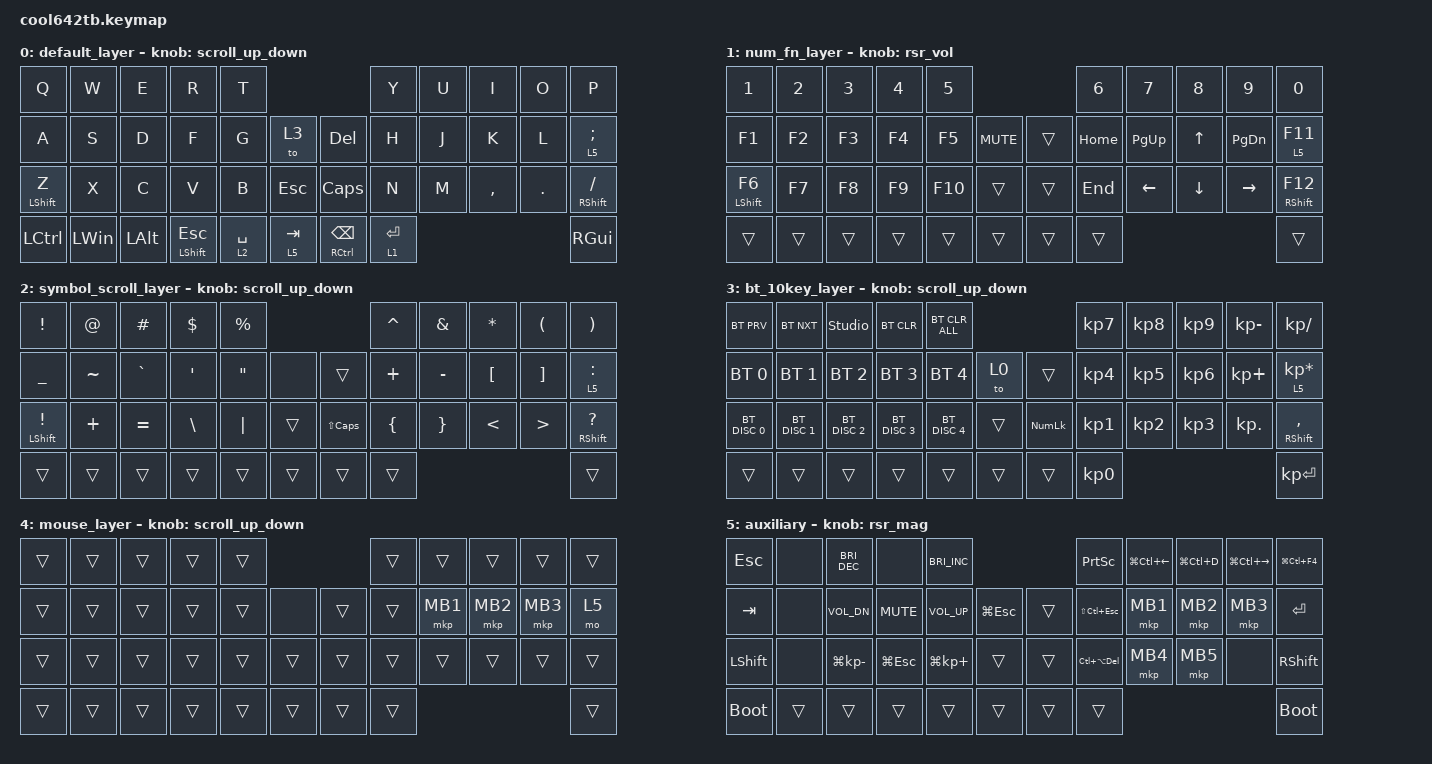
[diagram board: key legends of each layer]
#define ZMK_POINTING_DEFAULT_SCRL_VAL 100

#include <behaviors/rgbled_widget.dtsi>
#include <behaviors.dtsi>
#include <dt-bindings/zmk/bt.h>
#include <dt-bindings/zmk/keys.h>
#include <dt-bindings/zmk/pointing.h>

&mt {
    flavor = "balanced";
    quick-tap-ms = <200>;
};

&lt {
    quick-tap-ms = <200>;
    flavor = "balanced";
};

/ {
    behaviors {
        scroll_up_down: mouse_wheel_up_down {
            compatible = "zmk,behavior-runtime-sensor-rotate";
            #sensor-binding-cells = <0>;
            tap-ms = <20>;
            cw-binding = <&msc SCRL_DOWN>;
            ccw-binding = <&msc SCRL_UP>;
        };

        rsr_vol: rsr_vol {
            compatible = "zmk,behavior-runtime-sensor-rotate";
            #sensor-binding-cells = <0>;
            tap-ms = <5>;
            cw-binding = <&kp C_VOL_UP>;
            ccw-binding = <&kp C_VOL_DN>;
        };

        rsr_mag: rsr_mag {
            compatible = "zmk,behavior-runtime-sensor-rotate";
            #sensor-binding-cells = <0>;
            tap-ms = <20>;
            cw-binding = <&kp LG(KP_PLUS)>;
            ccw-binding = <&kp LG(KP_MINUS)>;
        };
    };

    combos {
        compatible = "zmk,combos";

        tab {
            bindings = <&kp TAB>;
            key-positions = <10 11>;
        };

        s+tab {
            bindings = <&kp LS(TAB)>;
            key-positions = <22 23>;
        };

        esc {
            bindings = <&kp ESC>;
            key-positions = <0 1>;
        };

        bs {
            bindings = <&kp BACKSPACE>;
            key-positions = <8 9>;
        };

        enter {
            bindings = <&kp ENTER>;
            key-positions = <20 21>;
        };

        del {
            bindings = <&kp DELETE>;
            key-positions = <7 8>;
        };

        scroll {
            bindings = <&mo 2>;
            key-positions = <19 20>;
        };

        lang2 {
            bindings = <&kp LANGUAGE_2>;
            key-positions = <13 12>;
        };

        lang1 {
            bindings = <&kp LANGUAGE_1>;
            key-positions = <18 19>;
        };
    };

    keymap {
        compatible = "zmk,keymap";

        default_layer {
            bindings = <
&kp Q         &kp W         &kp E         &kp R              &kp T                                                 &kp Y        &kp U  &kp I      &kp O       &kp P
&kp A         &kp S         &kp D         &kp F              &kp G        &to 3       &kp DELETE                   &kp H        &kp J  &kp K      &kp L       &lt 5 SEMICOLON
&mt LSHIFT Z  &kp X         &kp C         &kp V              &kp B        &kp ESCAPE  &kp CAPS                     &kp N        &kp M  &kp COMMA  &kp PERIOD  &mt RSHFT SLASH
&kp LCTRL     &kp LEFT_WIN  &kp LEFT_ALT  &mt LSHIFT ESCAPE  &lt 2 SPACE  &lt 5 TAB   &mt RIGHT_CONTROL BACKSPACE  &lt 1 ENTER                                &kp RGUI
            >;
            sensor-bindings = <&scroll_up_down>;
        };

        num_fn_layer {
            bindings = <
&kp NUMBER_1   &kp NUMBER_2  &kp NUMBER_3  &kp NUMBER_4  &kp N5                       &kp NUMBER_6  &kp N7     &kp N8        &kp N9         &kp N0
&kp F1         &kp F2        &kp F3        &kp F4        &kp F5   &kp C_MUTE  &trans  &kp HOME      &kp PG_UP  &kp UP_ARROW  &kp PAGE_DOWN  &lt 5 F11
&mt LSHIFT F6  &kp F7        &kp F8        &kp F9        &kp F10  &trans      &trans  &kp END       &kp LEFT   &kp DOWN      &kp RIGHT      &mt RSHFT F12
&trans         &trans        &trans        &trans        &trans   &trans      &trans  &trans                                                &trans
            >;
            sensor-bindings = <&rsr_vol>;
        };

        symbol_scroll_layer {
            bindings = <
&kp EXCLAMATION         &kp AT_SIGN  &kp HASH   &kp DOLLAR     &kp PERCENT                                  &kp CARET       &kp AMPERSAND  &kp ASTERISK      &kp LEFT_PARENTHESIS  &kp RIGHT_PARENTHESIS
&kp UNDERSCORE          &kp TILDE    &kp GRAVE  &kp SQT        &kp DOUBLE_QUOTES  &none   &trans            &kp PLUS        &kp MINUS      &kp LEFT_BRACKET  &kp RIGHT_BRACKET     &lt 5 COLON
&mt LSHIFT EXCLAMATION  &kp PLUS     &kp EQUAL  &kp BACKSLASH  &kp PIPE           &trans  &kp LS(CAPSLOCK)  &kp LEFT_BRACE  &kp RBRC       &kp LESS_THAN     &kp GREATER_THAN      &mt RSHIFT QUESTION
&trans                  &trans       &trans     &trans         &trans             &trans  &trans            &trans                                                                 &trans
            >;
            sensor-bindings = <&scroll_up_down>;
        };

        bt_10key_layer {
            bindings = <
&bt BT_PRV     &bt BT_NXT     &studio_unlock &bt BT_CLR     &bt BT_CLR_ALL                          &kp KP_NUMBER_7  &kp KP_NUMBER_8  &kp KP_NUMBER_9  &kp KP_MINUS  &kp KP_DIVIDE
&bt BT_SEL 0   &bt BT_SEL 1   &bt BT_SEL 2   &bt BT_SEL 3   &bt BT_SEL 4    &to 0   &trans          &kp KP_NUMBER_4  &kp KP_NUMBER_5  &kp KP_NUMBER_6  &kp KP_PLUS   &lt 5 KP_ASTERISK
&bt BT_DISC 0  &bt BT_DISC 1  &bt BT_DISC 2  &bt BT_DISC 3  &bt BT_DISC 4   &trans  &kp KP_NUMLOCK  &kp KP_NUMBER_1  &kp KP_NUMBER_2  &kp KP_NUMBER_3  &kp KP_DOT    &mt RSHFT COMMA
&trans         &trans         &trans         &trans         &trans          &trans  &trans          &kp KP_NUMBER_0                                                  &kp KP_ENTER
            >;
            sensor-bindings = <&scroll_up_down>;
        };

        mouse_layer {
            bindings = <
&trans  &trans  &trans  &trans  &trans                  &trans  &trans    &trans    &trans    &trans
&trans  &trans  &trans  &trans  &trans  &none   &trans  &trans  &mkp MB1  &mkp MB2  &mkp MB3  &mo 5
&trans  &trans  &trans  &trans  &trans  &trans  &trans  &trans  &trans    &trans    &trans    &trans
&trans  &trans  &trans  &trans  &trans  &trans  &trans  &trans                                &trans
            >;
            sensor-bindings = <&scroll_up_down>;
        };

        auxiliary {
            bindings = <
&kp ESCAPE   &none   &kp C_BRIGHTNESS_DEC  &none           &kp C_BRIGHTNESS_INC                          &kp PRINTSCREEN     &kp LG(LC(LEFT))  &kp LG(LC(D))  &kp LG(LC(RIGHT))  &kp LG(LC(F4))
&kp TAB      &none   &kp C_VOL_DN          &kp C_MUTE      &kp C_VOLUME_UP       &kp LG(ESCAPE)  &trans  &kp LS(LC(ESCAPE))  &mkp MB1          &mkp MB2       &mkp MB3           &kp RET
&kp LSHIFT   &none   &kp LG(KP_MINUS)      &kp LG(ESCAPE)  &kp LG(KP_PLUS)       &trans          &trans  &kp LC(LA(DELETE))  &mkp MB4          &mkp MB5       &none              &kp RSHIFT
&bootloader  &trans  &trans                &trans          &trans                &trans          &trans  &trans                                                                  &bootloader
            >;
            sensor-bindings = <&rsr_mag>;
        };
    };
};
